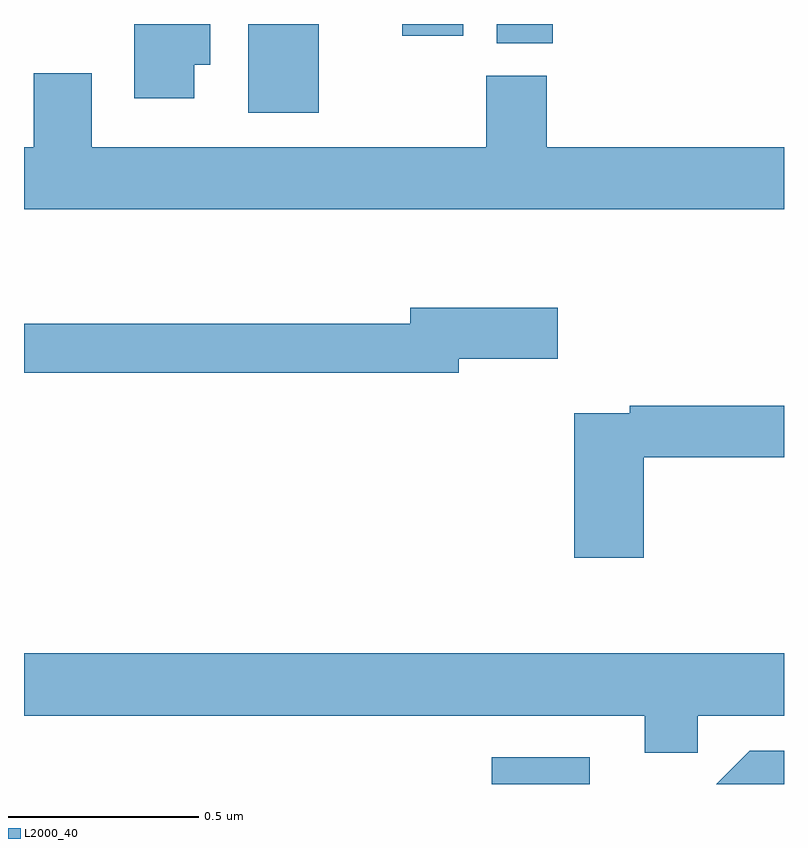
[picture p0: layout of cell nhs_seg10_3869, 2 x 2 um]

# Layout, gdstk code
import gdstk
lib = gdstk.Library(unit=1e-6, precision=1e-09)
def R(c, l, rs):  # rectangles x0, y0, x1, y1
    for r in rs: c.add(gdstk.rectangle(r[:2], r[2:], *l))
def P(c, l, *ps):  # polygons
    for p in ps: c.add(gdstk.Polygon(p, *l))
L2000_40 = (2000, 40)

nhs_seg10_3869 = lib.new_cell('nhs_seg10_3869')
R(nhs_seg10_3869, L2000_40, [(160.231,1269.5,160.489,1269.57), (159.59,1271.267,159.775,1271.5), (160.244,1271.449,160.391,1271.5), (159.995,1271.469,160.156,1271.5), (159,1271.499,159.076,1271.5)])
P(nhs_seg10_3869, L2000_40, [(159.448,1271.393),(159.49,1271.393),(159.49,1271.5),(159.29,1271.5),(159.29,1271.304),(159.448,1271.304)],
  [(161,1271.176),(160.376,1271.176),(160.376,1271.364),(160.216,1271.364),(160.216,1271.176),(159.178,1271.176),(159.178,1271.371),(159.026,1271.371),(159.026,1271.176),(159,1271.176),(159,1271.012),(161,1271.012)],
  [(160.144,1270.619),(160.405,1270.619),(160.405,1270.753),(160.016,1270.753),(160.016,1270.711),(159,1270.711),(159,1270.582),(160.144,1270.582)],
  [(160.631,1270.36),(161,1270.36),(161,1270.496),(160.594,1270.496),(160.594,1270.476),(160.448,1270.476),(160.448,1270.095),(160.631,1270.095)],
  [(160.773,1269.68),(161,1269.68),(161,1269.844),(159,1269.844),(159,1269.68),(160.634,1269.68),(160.634,1269.582),(160.773,1269.582)],
  [(161,1269.588),(160.91,1269.588),(160.822,1269.5),(161,1269.5)])

lib.write_gds('nhs_seg10_3869.gds')
